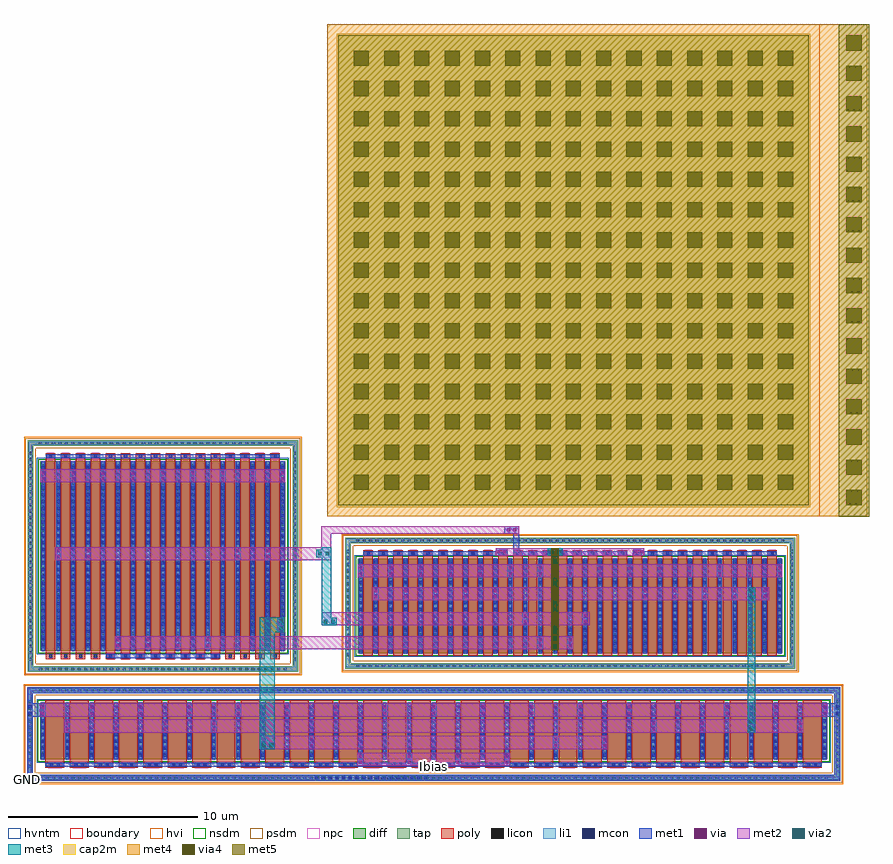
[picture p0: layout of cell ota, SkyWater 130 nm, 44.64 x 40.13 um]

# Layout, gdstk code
from math import pi, radians
import gdstk
lib = gdstk.Library(unit=1e-6, precision=1e-09)
def R(c, l, rs):  # rectangles x0, y0, x1, y1
    for r in rs: c.add(gdstk.rectangle(r[:2], r[2:], *l))
def A(c, l, x, y, w, h, nx, ny, dx, dy):  # array of equal rectangles
    R(c, l, [(x+i*dx, y+j*dy, x+i*dx+w, y+j*dy+h) for i in range(nx) for j in range(ny)])
def P(c, l, *ps):  # polygons
    for p in ps: c.add(gdstk.Polygon(p, *l))
diff = (65, 20)
tap = (65, 44)
poly = (66, 20)
licon = (66, 44)
li1 = (67, 20)
mcon = (67, 44)
met1 = (68, 20)
via = (68, 44)
met2 = (69, 20)
via2 = (69, 44)
met3 = (70, 20)
met4 = (71, 20)
via4 = (71, 44)
met5 = (72, 20)
hvi = (75, 20)
nsdm = (93, 44)
psdm = (94, 20)
npc = (95, 20)
cap2m = (97, 44)
hvntm = (125, 20)
boundary = (235, 4)

via_2 = lib.new_cell('via$2')
R(via_2, via, [(0,0,0.15,0.15)])

via_new = lib.new_cell('via_new')
via_new.add(gdstk.FlexPath([(0,0),(0.7,0)], 0.3, ends="flush", simple_path=True, layer=68, datatype=20))  # met1
via_new.add(gdstk.FlexPath([(0,0),(0.7,0)], 0.3, ends="flush", simple_path=True, layer=69, datatype=20))  # met2
r = gdstk.Reference(via_2, (0.115,-0.075)); r.repetition = gdstk.Repetition(2, 1, v1=(0.32,0), v2=(0,0)); via_new.add(r)

mcon_1 = lib.new_cell('mcon$1')
R(mcon_1, mcon, [(0,0,0.17,0.17)])

via_new_1 = lib.new_cell('via_new$1')
via_new_1.add(gdstk.FlexPath([(0,0),(0.7,0)], 0.3, ends="flush", simple_path=True, layer=68, datatype=20))  # met1
via_new_1.add(gdstk.FlexPath([(0,0),(0.7,0)], 0.3, ends="flush", simple_path=True, layer=67, datatype=20))  # li1
r = gdstk.Reference(mcon_1, (0.085,-0.085)); r.repetition = gdstk.Repetition(2, 1, v1=(0.36,0), v2=(0,0)); via_new_1.add(r)

via2_1 = lib.new_cell('via2$1')
R(via2_1, via2, [(0,0,0.2,0.2)])

via_new_3 = lib.new_cell('via_new$3')
via_new_3.add(gdstk.FlexPath([(0,0),(0.4,0)], 0.8, ends="flush", simple_path=True, layer=69, datatype=20))  # met2
via_new_3.add(gdstk.FlexPath([(0,0),(0.4,0)], 0.8, ends="flush", simple_path=True, layer=70, datatype=20))  # met3
r = gdstk.Reference(via2_1, (0.1,-0.3)); r.repetition = gdstk.Repetition(1, 2, v1=(0,0), v2=(0,0.4)); via_new_3.add(r)

via_1 = lib.new_cell('via$1')
R(via_1, via, [(0,0,0.15,0.15)])

via2_ = lib.new_cell('via2')
R(via2_, via2, [(0,0,0.2,0.2)])

via_new_4 = lib.new_cell('via_new$4')
via_new_4.add(gdstk.FlexPath([(0,0),(0.8,0)], 0.4, ends="flush", simple_path=True, layer=68, datatype=20))  # met1
via_new_4.add(gdstk.FlexPath([(0,0),(0.8,0)], 0.4, ends="flush", simple_path=True, layer=69, datatype=20))  # met2
via_new_4.add(gdstk.FlexPath([(0,0),(0.8,0)], 0.4, ends="flush", simple_path=True, layer=70, datatype=20))  # met3
r = gdstk.Reference(via_1, (0.165,-0.075)); r.repetition = gdstk.Repetition(2, 1, v1=(0.32,0), v2=(0,0)); via_new_4.add(r)
r = gdstk.Reference(via2_, (0.1,-0.1)); r.repetition = gdstk.Repetition(2, 1, v1=(0.4,0), v2=(0,0)); via_new_4.add(r)

mcon_3 = lib.new_cell('mcon$3')
R(mcon_3, mcon, [(0,0,0.17,0.17)])

via_new_7 = lib.new_cell('via_new$7')
via_new_7.add(gdstk.FlexPath([(0,0),(0.3,0)], 6, ends="flush", simple_path=True, layer=68, datatype=20))  # met1
via_new_7.add(gdstk.FlexPath([(0,0),(0.3,0)], 6, ends="flush", simple_path=True, layer=67, datatype=20))  # li1
r = gdstk.Reference(mcon_3, (0.065,-2.965)); r.repetition = gdstk.Repetition(1, 17, v1=(0,0), v2=(0,0.36)); via_new_7.add(r)

via_9 = lib.new_cell('via$9')
R(via_9, via, [(0,0,0.15,0.15)])

via_new_5 = lib.new_cell('via_new$5')
via_new_5.add(gdstk.FlexPath([(0,0),(0.4,0)], 0.6, ends="flush", simple_path=True, layer=68, datatype=20))  # met1
via_new_5.add(gdstk.FlexPath([(0,0),(0.4,0)], 0.6, ends="flush", simple_path=True, layer=69, datatype=20))  # met2
r = gdstk.Reference(via_9, (0.125,-0.235)); r.repetition = gdstk.Repetition(1, 2, v1=(0,0), v2=(0,0.32)); via_new_5.add(r)

via2_5 = lib.new_cell('via2$5')
R(via2_5, via2, [(0,0,0.2,0.2)])

via_new_9 = lib.new_cell('via_new$9')
via_new_9.add(gdstk.FlexPath([(0,0),(0.8,0)], 0.4, ends="flush", simple_path=True, layer=69, datatype=20))  # met2
via_new_9.add(gdstk.FlexPath([(0,0),(0.8,0)], 0.4, ends="flush", simple_path=True, layer=70, datatype=20))  # met3
r = gdstk.Reference(via2_5, (0.1,-0.1)); r.repetition = gdstk.Repetition(2, 1, v1=(0.4,0), v2=(0,0)); via_new_9.add(r)

via_3 = lib.new_cell('via$3')
R(via_3, via, [(0,0,0.15,0.15)])

via_new_6 = lib.new_cell('via_new$6')
via_new_6.add(gdstk.FlexPath([(0,0),(0.4,0)], 0.8, ends="flush", simple_path=True, layer=68, datatype=20))  # met1
via_new_6.add(gdstk.FlexPath([(0,0),(0.4,0)], 0.8, ends="flush", simple_path=True, layer=69, datatype=20))  # met2
r = gdstk.Reference(via_3, (0.125,-0.235)); r.repetition = gdstk.Repetition(1, 2, v1=(0,0), v2=(0,0.32)); via_new_6.add(r)

ota = lib.new_cell('ota')
R(ota, diff, [(40.615,-31.517,82.185,-28.517), (57.405,-25.915,79.815,-20.915), (40.64,-25.78,53.57,-15.78)])
R(ota, tap, [(39.945,-32.627,82.855,-32.337), (39.945,-32.337,40.235,-28.007), (82.565,-32.337,82.855,-28.007), (39.945,-28.007,82.855,-27.717), (39.97,-26.89,54.24,-26.6), (56.735,-26.715,80.485,-26.425), (39.97,-26.6,40.26,-14.96), (53.95,-26.6,54.24,-14.96), (56.735,-26.425,57.025,-20.095), (80.195,-26.425,80.485,-20.095), (56.735,-20.095,80.485,-19.805), (39.97,-14.96,54.24,-14.67)])
A(ota, poly, 40.905, -31.957, 1, 3.57, 32, 1, 1.29, 0)
A(ota, poly, 40.93, -26.22, 0.5, 10.88, 16, 1, 0.79, 0)
A(ota, poly, 57.695, -26.045, 0.5, 5.57, 28, 1, 0.79, 0)
A(ota, licon, 40.575, -32.567, 0.17, 0.17, 123, 2, 0.34, 4.62)
A(ota, licon, 40.005, -31.957, 0.17, 0.17, 1, 11, 0, 0.34)
A(ota, licon, 82.625, -31.957, 0.17, 0.17, 1, 11, 0, 0.34)
A(ota, licon, 40.675, -31.292, 0.17, 0.17, 33, 8, 1.29, 0.34)
A(ota, licon, 40.56, -26.83, 0.17, 0.17, 39, 2, 0.34, 11.93)
A(ota, licon, 57.305, -26.655, 0.17, 0.17, 67, 2, 0.34, 6.62)
A(ota, licon, 40.03, -26.305, 0.17, 0.17, 1, 33, 0, 0.34)
A(ota, licon, 54.01, -26.305, 0.17, 0.17, 1, 33, 0, 0.34)
A(ota, licon, 44.255, -26.14, 0.17, 0.17, 8, 1, 0.79, 0)
A(ota, licon, 56.795, -26.065, 0.17, 0.17, 1, 17, 0, 0.34)
A(ota, licon, 80.255, -26.065, 0.17, 0.17, 1, 17, 0, 0.34)
A(ota, licon, 57.465, -25.71, 0.17, 0.17, 29, 14, 0.79, 0.34)
A(ota, licon, 40.7, -25.625, 0.17, 0.17, 17, 29, 0.79, 0.34)
A(ota, licon, 57.86, -20.725, 0.17, 0.17, 28, 1, 0.79, 0)
A(ota, licon, 41.095, -15.59, 0.17, 0.17, 4, 1, 0.79, 0)
A(ota, licon, 50.575, -15.59, 0.17, 0.17, 4, 1, 0.79, 0)
R(ota, licon, [(41.15,-31.877,41.32,-31.707), (41.49,-31.877,41.66,-31.707), (42.44,-31.877,42.61,-31.707), (42.78,-31.877,42.95,-31.707), (43.73,-31.877,43.9,-31.707), (44.07,-31.877,44.24,-31.707), (45.02,-31.877,45.19,-31.707), (45.36,-31.877,45.53,-31.707), (46.31,-31.877,46.48,-31.707), (46.65,-31.877,46.82,-31.707), (47.6,-31.877,47.77,-31.707), (47.94,-31.877,48.11,-31.707), (48.89,-31.877,49.06,-31.707), (49.23,-31.877,49.4,-31.707), (50.18,-31.877,50.35,-31.707), (50.52,-31.877,50.69,-31.707), (51.47,-31.877,51.64,-31.707), (51.81,-31.877,51.98,-31.707), (52.76,-31.877,52.93,-31.707), (53.1,-31.877,53.27,-31.707), (54.05,-31.877,54.22,-31.707), (54.39,-31.877,54.56,-31.707), (55.34,-31.877,55.51,-31.707), (55.68,-31.877,55.85,-31.707), (56.63,-31.877,56.8,-31.707), (56.97,-31.877,57.14,-31.707), (57.92,-31.877,58.09,-31.707), (58.26,-31.877,58.43,-31.707), (59.21,-31.877,59.38,-31.707), (59.55,-31.877,59.72,-31.707), (60.5,-31.877,60.67,-31.707), (60.84,-31.877,61.01,-31.707), (61.79,-31.877,61.96,-31.707), (62.13,-31.877,62.3,-31.707), (63.08,-31.877,63.25,-31.707), (63.42,-31.877,63.59,-31.707), (64.37,-31.877,64.54,-31.707), (64.71,-31.877,64.88,-31.707), (65.66,-31.877,65.83,-31.707), (66,-31.877,66.17,-31.707), (66.95,-31.877,67.12,-31.707), (67.29,-31.877,67.46,-31.707), (68.24,-31.877,68.41,-31.707), (68.58,-31.877,68.75,-31.707), (69.53,-31.877,69.7,-31.707), (69.87,-31.877,70.04,-31.707), (70.82,-31.877,70.99,-31.707), (71.16,-31.877,71.33,-31.707), (72.11,-31.877,72.28,-31.707), (72.45,-31.877,72.62,-31.707), (73.4,-31.877,73.57,-31.707), (73.74,-31.877,73.91,-31.707), (74.69,-31.877,74.86,-31.707), (75.03,-31.877,75.2,-31.707), (75.98,-31.877,76.15,-31.707), (76.32,-31.877,76.49,-31.707), (77.27,-31.877,77.44,-31.707), (77.61,-31.877,77.78,-31.707), (78.56,-31.877,78.73,-31.707), (78.9,-31.877,79.07,-31.707), (79.85,-31.877,80.02,-31.707), (80.19,-31.877,80.36,-31.707), (81.14,-31.877,81.31,-31.707), (81.48,-31.877,81.65,-31.707)])
A(ota, li1, 40.905, -31.877, 1, 0.17, 32, 1, 1.29, 0)
A(ota, li1, 40.675, -31.537, 0.17, 3.04, 33, 1, 1.29, 0)
A(ota, li1, 44.09, -26.14, 0.5, 0.17, 8, 1, 0.79, 0)
A(ota, li1, 57.465, -25.935, 0.17, 5.04, 29, 1, 0.79, 0)
A(ota, li1, 40.7, -25.8, 0.17, 10.04, 17, 1, 0.79, 0)
A(ota, li1, 57.695, -20.725, 0.5, 0.17, 28, 1, 0.79, 0)
A(ota, li1, 40.93, -15.59, 0.5, 0.17, 4, 1, 0.79, 0)
A(ota, li1, 50.41, -15.59, 0.5, 0.17, 4, 1, 0.79, 0)
R(ota, li1, [(40.005,-32.567,82.795,-32.397), (40.005,-32.397,40.175,-27.947), (82.625,-32.397,82.795,-27.947), (40.005,-27.947,82.795,-27.777), (40.03,-26.83,54.18,-26.66), (40.03,-26.66,40.2,-14.9), (54.01,-26.66,54.18,-14.9), (56.795,-26.655,80.425,-26.485), (56.795,-26.485,56.965,-20.035), (80.255,-26.485,80.425,-20.035), (56.795,-20.035,80.425,-19.865), (40.03,-14.9,54.18,-14.73)])
A(ota, mcon, 40.675, -31.362, 0.17, 0.17, 33, 8, 1.29, 0.36)
A(ota, mcon, 41.095, -26.14, 0.17, 0.17, 16, 2, 0.79, 10.55)
A(ota, mcon, 57.465, -25.84, 0.17, 0.17, 29, 14, 0.79, 0.36)
A(ota, mcon, 44.65, -25.585, 0.17, 0.17, 7, 2, 0.79, 0.36)
A(ota, mcon, 40.7, -25.545, 0.17, 0.17, 17, 2, 0.79, 1.08)
A(ota, mcon, 40.7, -25.185, 0.17, 0.17, 5, 2, 0.79, 0.36)
A(ota, mcon, 50.18, -25.185, 0.17, 0.17, 5, 2, 0.79, 0.36)
A(ota, mcon, 40.7, -24.105, 0.17, 0.17, 17, 23, 0.79, 0.36)
A(ota, mcon, 57.86, -20.725, 0.17, 0.17, 28, 1, 0.79, 0)
R(ota, mcon, [(41.14,-31.877,41.31,-31.707), (41.5,-31.877,41.67,-31.707), (42.43,-31.877,42.6,-31.707), (42.79,-31.877,42.96,-31.707), (43.72,-31.877,43.89,-31.707), (44.08,-31.877,44.25,-31.707), (45.01,-31.877,45.18,-31.707), (45.37,-31.877,45.54,-31.707), (46.3,-31.877,46.47,-31.707), (46.66,-31.877,46.83,-31.707), (47.59,-31.877,47.76,-31.707), (47.95,-31.877,48.12,-31.707), (48.88,-31.877,49.05,-31.707), (49.24,-31.877,49.41,-31.707), (50.17,-31.877,50.34,-31.707), (50.53,-31.877,50.7,-31.707), (51.46,-31.877,51.63,-31.707), (51.82,-31.877,51.99,-31.707), (52.75,-31.877,52.92,-31.707), (53.11,-31.877,53.28,-31.707), (54.04,-31.877,54.21,-31.707), (54.4,-31.877,54.57,-31.707), (55.33,-31.877,55.5,-31.707), (55.69,-31.877,55.86,-31.707), (56.62,-31.877,56.79,-31.707), (56.98,-31.877,57.15,-31.707), (57.91,-31.877,58.08,-31.707), (58.27,-31.877,58.44,-31.707), (59.2,-31.877,59.37,-31.707), (59.56,-31.877,59.73,-31.707), (60.49,-31.877,60.66,-31.707), (60.85,-31.877,61.02,-31.707), (61.78,-31.877,61.95,-31.707), (62.14,-31.877,62.31,-31.707), (63.07,-31.877,63.24,-31.707), (63.43,-31.877,63.6,-31.707), (64.36,-31.877,64.53,-31.707), (64.72,-31.877,64.89,-31.707), (65.65,-31.877,65.82,-31.707), (66.01,-31.877,66.18,-31.707), (66.94,-31.877,67.11,-31.707), (67.3,-31.877,67.47,-31.707), (68.23,-31.877,68.4,-31.707), (68.59,-31.877,68.76,-31.707), (69.52,-31.877,69.69,-31.707), (69.88,-31.877,70.05,-31.707), (70.81,-31.877,70.98,-31.707), (71.17,-31.877,71.34,-31.707), (72.1,-31.877,72.27,-31.707), (72.46,-31.877,72.63,-31.707), (73.39,-31.877,73.56,-31.707), (73.75,-31.877,73.92,-31.707), (74.68,-31.877,74.85,-31.707), (75.04,-31.877,75.21,-31.707), (75.97,-31.877,76.14,-31.707), (76.33,-31.877,76.5,-31.707), (77.26,-31.877,77.43,-31.707), (77.62,-31.877,77.79,-31.707), (78.55,-31.877,78.72,-31.707), (78.91,-31.877,79.08,-31.707), (79.84,-31.877,80.01,-31.707), (80.2,-31.877,80.37,-31.707), (81.13,-31.877,81.3,-31.707), (81.49,-31.877,81.66,-31.707)])
A(ota, met1, 40.925, -31.907, 0.96, 0.23, 32, 1, 1.29, 0)
A(ota, met1, 40.645, -31.517, 0.23, 3, 33, 1, 1.29, 0)
A(ota, met1, 44.11, -26.17, 0.46, 0.23, 8, 1, 0.79, 0)
A(ota, met1, 57.435, -25.915, 0.23, 5, 29, 1, 0.79, 0)
A(ota, met1, 40.67, -25.78, 0.23, 10, 17, 1, 0.79, 0)
A(ota, met1, 57.715, -20.755, 0.46, 0.23, 28, 1, 0.79, 0)
A(ota, met1, 40.95, -15.62, 0.46, 0.23, 4, 1, 0.79, 0)
A(ota, met1, 50.43, -15.62, 0.46, 0.23, 4, 1, 0.79, 0)
R(ota, met1, [(39.94,-32.635,82.865,-32.335), (39.94,-32.635,40.24,-27.715), (82.565,-32.635,82.865,-27.715), (41.868,-31.907,42.24,-31.677), (43.15,-31.907,43.521,-31.677), (44.441,-31.907,44.828,-31.677), (45.734,-31.907,46.097,-31.677), (47.042,-31.907,47.384,-31.677), (48.311,-31.907,48.68,-31.677), (49.597,-31.907,49.974,-31.677), (50.888,-31.907,51.262,-31.677), (52.183,-31.907,52.55,-31.677), (53.48,-31.907,53.841,-31.677), (54.756,-31.907,55.159,-31.677), (56.049,-31.907,56.435,-31.677), (57.352,-31.907,57.719,-31.677), (58.618,-31.907,59.018,-31.677), (59.924,-31.907,60.292,-31.677), (61.219,-31.907,61.582,-31.677), (62.485,-31.907,62.878,-31.677), (63.788,-31.907,64.167,-31.677), (65.087,-31.907,65.46,-31.677), (66.371,-31.907,66.746,-31.677), (67.664,-31.907,68.038,-31.677), (68.952,-31.907,69.32,-31.677), (70.251,-31.907,70.626,-31.677), (71.54,-31.907,71.905,-31.677), (72.816,-31.907,73.192,-31.677), (74.105,-31.907,74.483,-31.677), (75.399,-31.907,75.777,-31.677), (76.693,-31.907,77.086,-31.677), (77.978,-31.907,78.382,-31.677), (79.265,-31.907,79.644,-31.677), (80.566,-31.907,80.939,-31.677), (39.94,-29.25,40.875,-28.55), (81.925,-29.25,82.865,-28.55), (39.94,-28.01,82.865,-27.715), (44.55,-26.17,44.935,-25.94), (45.34,-26.17,45.73,-25.94), (46.13,-26.17,46.505,-25.94), (46.925,-26.17,47.325,-25.94), (47.71,-26.17,48.09,-25.94), (48.505,-26.17,48.865,-25.94), (49.3,-26.17,49.775,-25.94), (57.715,-20.755,65.285,-20.525), (65.615,-20.755,71.605,-20.525), (71.935,-20.755,79.505,-20.525), (65.615,-20.725,65.93,-19.19), (40.95,-15.62,53.26,-15.39)])
R(ota, met2, [(57.38,-31.85,65.42,-31.15), (52.22,-30.965,70.58,-30.265), (41.892,-30.106,80.906,-29.406), (40.609,-29.25,82.187,-28.55), (44.585,-25.7,49.625,-25), (49.325,-25.7,68.76,-25), (55.48,-24.44,69.635,-23.74), (58.19,-23.11,64.81,-22.41), (64.51,-23.11,79.11,-22.41), (57.405,-21.9,79.81,-21.2), (41.425,-21.005,55.99,-20.305), (55.475,-20.835,55.995,-19.19), (64.685,-20.755,72.535,-20.355), (55.475,-19.59,65.93,-19.19), (40.63,-16.89,53.57,-16.19)])
P(ota, met2, [(82.413,-29.14),(82.413,-29.14),(82.413,-29.14),(82.413,-29.14)])
R(ota, met3, [(52.22,-30.965,53.02,-24), (77.975,-30.106,78.375,-22.41), (67.61,-25.74,68.01,-20.355), (52.22,-24.8,53.54,-24), (55.48,-24.44,55.995,-20.305)])
R(ota, met4, [(55.78,-18.685,84.29,7.315)])
A(ota, via4, 83.2, -18.085, 0.8, 0.8, 1, 16, 0, 1.6)
A(ota, via4, 57.18, -17.285, 0.8, 0.8, 15, 15, 1.6, 1.6)
R(ota, via4, [(67.615,-25.74,68.01,-20.355)])
R(ota, met5, [(82.8,-18.69,84.4,7.32), (56.36,-18.105,81.2,6.735)])
R(ota, hvi, [(39.76,-32.812,83.04,-27.532), (39.785,-27.075,54.425,-14.485), (56.55,-26.9,80.67,-19.62)])
R(ota, nsdm, [(40.49,-31.642,82.31,-28.392), (57.28,-26.04,79.94,-20.79), (40.515,-25.905,53.695,-15.655)])
R(ota, psdm, [(39.82,-32.752,82.98,-32.212), (39.82,-32.212,40.36,-28.132), (82.44,-32.212,82.98,-28.132), (39.82,-28.132,82.98,-27.592), (39.845,-27.015,54.365,-26.475), (56.61,-26.84,80.61,-26.3), (39.845,-26.475,40.385,-15.085), (53.825,-26.475,54.365,-15.085), (56.61,-26.3,57.15,-20.22), (80.07,-26.3,80.61,-20.22), (56.61,-20.22,80.61,-19.68), (39.845,-15.085,54.365,-14.545)])
A(ota, npc, 41.05, -31.977, 0.71, 0.37, 32, 1, 1.29, 0)
A(ota, npc, 44.155, -26.24, 0.37, 0.37, 8, 1, 0.79, 0)
A(ota, npc, 57.76, -20.825, 0.37, 0.37, 28, 1, 0.79, 0)
A(ota, npc, 40.995, -15.69, 0.37, 0.37, 4, 1, 0.79, 0)
A(ota, npc, 50.475, -15.69, 0.37, 0.37, 4, 1, 0.79, 0)
R(ota, cap2m, [(56.28,-18.185,81.28,6.815)])
R(ota, hvntm, [(40.43,-31.702,82.37,-28.332), (57.22,-26.1,80,-20.73), (40.455,-25.965,53.755,-15.595)])
R(ota, boundary, [(40.09,-32.482,82.71,-27.862), (40.115,-26.745,54.095,-14.815), (56.88,-26.57,80.34,-19.95), (55.78,-18.685,81.78,7.315)])
r = gdstk.Reference(via_new, (40.759,-29.25), rotation=pi/2); r.repetition = gdstk.Repetition(1, 1, v1=(0,0), v2=(0,0)); ota.add(r)
r = gdstk.Reference(via_new, (82.037,-29.25), rotation=pi/2); r.repetition = gdstk.Repetition(1, 1, v1=(0,0), v2=(0,0)); ota.add(r)
r = gdstk.Reference(via_new, (79.45,-29.25), rotation=pi/2); r.repetition = gdstk.Repetition(1, 1, v1=(0,0), v2=(0,0)); ota.add(r)
r = gdstk.Reference(via_new, (43.338,-29.25), rotation=pi/2); r.repetition = gdstk.Repetition(1, 1, v1=(0,0), v2=(0,0)); ota.add(r)
r = gdstk.Reference(via_new, (45.917,-29.25), rotation=pi/2); r.repetition = gdstk.Repetition(1, 1, v1=(0,0), v2=(0,0)); ota.add(r)
r = gdstk.Reference(via_new, (48.513,-29.25), rotation=pi/2); r.repetition = gdstk.Repetition(1, 1, v1=(0,0), v2=(0,0)); ota.add(r)
r = gdstk.Reference(via_new, (51.087,-29.25), rotation=pi/2); r.repetition = gdstk.Repetition(1, 1, v1=(0,0), v2=(0,0)); ota.add(r)
r = gdstk.Reference(via_new, (53.678,-29.25), rotation=pi/2); r.repetition = gdstk.Repetition(1, 1, v1=(0,0), v2=(0,0)); ota.add(r)
r = gdstk.Reference(via_new, (56.241,-29.25), rotation=pi/2); r.repetition = gdstk.Repetition(1, 1, v1=(0,0), v2=(0,0)); ota.add(r)
r = gdstk.Reference(via_new, (58.825,-29.25), rotation=pi/2); r.repetition = gdstk.Repetition(1, 1, v1=(0,0), v2=(0,0)); ota.add(r)
r = gdstk.Reference(via_new, (61.414,-29.25), rotation=pi/2); r.repetition = gdstk.Repetition(1, 1, v1=(0,0), v2=(0,0)); ota.add(r)
r = gdstk.Reference(via_new, (63.987,-29.249), rotation=pi/2); r.repetition = gdstk.Repetition(1, 1, v1=(0,0), v2=(0,0)); ota.add(r)
r = gdstk.Reference(via_new, (66.59,-29.25), rotation=pi/2); r.repetition = gdstk.Repetition(1, 1, v1=(0,0), v2=(0,0)); ota.add(r)
r = gdstk.Reference(via_new, (69.136,-29.25), rotation=pi/2); r.repetition = gdstk.Repetition(1, 1, v1=(0,0), v2=(0,0)); ota.add(r)
r = gdstk.Reference(via_new, (71.723,-29.251), rotation=pi/2); r.repetition = gdstk.Repetition(1, 1, v1=(0,0), v2=(0,0)); ota.add(r)
r = gdstk.Reference(via_new, (74.3,-29.25), rotation=pi/2); r.repetition = gdstk.Repetition(1, 1, v1=(0,0), v2=(0,0)); ota.add(r)
r = gdstk.Reference(via_new, (76.872,-29.25), rotation=pi/2); r.repetition = gdstk.Repetition(1, 1, v1=(0,0), v2=(0,0)); ota.add(r)
r = gdstk.Reference(via_new, (42.042,-30.106), rotation=pi/2); r.repetition = gdstk.Repetition(1, 1, v1=(0,0), v2=(0,0)); ota.add(r)
r = gdstk.Reference(via_new, (80.756,-30.106), rotation=pi/2); r.repetition = gdstk.Repetition(1, 1, v1=(0,0), v2=(0,0)); ota.add(r)
r = gdstk.Reference(via_new, (78.18,-30.106), rotation=pi/2); r.repetition = gdstk.Repetition(1, 1, v1=(0,0), v2=(0,0)); ota.add(r)
r = gdstk.Reference(via_new, (75.591,-30.106), rotation=pi/2); r.repetition = gdstk.Repetition(1, 1, v1=(0,0), v2=(0,0)); ota.add(r)
r = gdstk.Reference(via_new, (73.023,-30.106), rotation=pi/2); r.repetition = gdstk.Repetition(1, 1, v1=(0,0), v2=(0,0)); ota.add(r)
r = gdstk.Reference(via_new, (44.625,-30.106), rotation=pi/2); r.repetition = gdstk.Repetition(1, 1, v1=(0,0), v2=(0,0)); ota.add(r)
r = gdstk.Reference(via_new, (47.212,-30.106), rotation=pi/2); r.repetition = gdstk.Repetition(1, 1, v1=(0,0), v2=(0,0)); ota.add(r)
r = gdstk.Reference(via_new, (49.789,-30.106), rotation=pi/2); r.repetition = gdstk.Repetition(1, 1, v1=(0,0), v2=(0,0)); ota.add(r)
r = gdstk.Reference(via_new, (52.37,-30.965), rotation=pi/2); r.repetition = gdstk.Repetition(1, 1, v1=(0,0), v2=(0,0)); ota.add(r)
r = gdstk.Reference(via_new, (70.43,-30.965), rotation=pi/2); r.repetition = gdstk.Repetition(1, 1, v1=(0,0), v2=(0,0)); ota.add(r)
r = gdstk.Reference(via_new, (67.85,-30.965), rotation=pi/2); r.repetition = gdstk.Repetition(1, 1, v1=(0,0), v2=(0,0)); ota.add(r)
r = gdstk.Reference(via_new, (54.95,-30.965), rotation=pi/2); r.repetition = gdstk.Repetition(1, 1, v1=(0,0), v2=(0,0)); ota.add(r)
r = gdstk.Reference(via_new, (57.53,-31.85), rotation=pi/2); r.repetition = gdstk.Repetition(1, 1, v1=(0,0), v2=(0,0)); ota.add(r)
r = gdstk.Reference(via_new, (65.27,-31.85), rotation=pi/2); r.repetition = gdstk.Repetition(1, 1, v1=(0,0), v2=(0,0)); ota.add(r)
r = gdstk.Reference(via_new, (60.11,-31.85), rotation=pi/2); r.repetition = gdstk.Repetition(1, 1, v1=(0,0), v2=(0,0)); ota.add(r)
r = gdstk.Reference(via_new, (62.69,-31.85), rotation=pi/2); r.repetition = gdstk.Repetition(1, 1, v1=(0,0), v2=(0,0)); ota.add(r)
r = gdstk.Reference(via_new_1, (82.715,-29.25), rotation=pi/2); r.repetition = gdstk.Repetition(1, 1, v1=(0,0), v2=(0,0)); ota.add(r)
r = gdstk.Reference(via_new_1, (40.09,-29.25), rotation=pi/2); r.repetition = gdstk.Repetition(1, 1, v1=(0,0), v2=(0,0)); ota.add(r)
r = gdstk.Reference(via_new, (40.78,-16.89), rotation=pi/2); r.repetition = gdstk.Repetition(1, 1, v1=(0,0), v2=(0,0)); ota.add(r)
r = gdstk.Reference(via_new, (53.42,-16.89), rotation=pi/2); r.repetition = gdstk.Repetition(1, 1, v1=(0,0), v2=(0,0)); ota.add(r)
r = gdstk.Reference(via_new, (51.845,-16.89), rotation=pi/2); r.repetition = gdstk.Repetition(1, 1, v1=(0,0), v2=(0,0)); ota.add(r)
r = gdstk.Reference(via_new, (50.265,-16.89), rotation=pi/2); r.repetition = gdstk.Repetition(1, 1, v1=(0,0), v2=(0,0)); ota.add(r)
r = gdstk.Reference(via_new, (48.685,-16.89), rotation=pi/2); r.repetition = gdstk.Repetition(1, 1, v1=(0,0), v2=(0,0)); ota.add(r)
r = gdstk.Reference(via_new, (47.1,-16.89), rotation=pi/2); r.repetition = gdstk.Repetition(1, 1, v1=(0,0), v2=(0,0)); ota.add(r)
r = gdstk.Reference(via_new, (45.525,-16.89), rotation=pi/2); r.repetition = gdstk.Repetition(1, 1, v1=(0,0), v2=(0,0)); ota.add(r)
r = gdstk.Reference(via_new, (43.945,-16.89), rotation=pi/2); r.repetition = gdstk.Repetition(1, 1, v1=(0,0), v2=(0,0)); ota.add(r)
r = gdstk.Reference(via_new, (42.365,-16.89), rotation=pi/2); r.repetition = gdstk.Repetition(1, 1, v1=(0,0), v2=(0,0)); ota.add(r)
r = gdstk.Reference(via_new, (41.575,-21.005), rotation=pi/2); r.repetition = gdstk.Repetition(1, 1, v1=(0,0), v2=(0,0)); ota.add(r)
r = gdstk.Reference(via_new, (52.635,-21.005), rotation=pi/2); r.repetition = gdstk.Repetition(1, 1, v1=(0,0), v2=(0,0)); ota.add(r)
r = gdstk.Reference(via_new, (51.055,-21.005), rotation=pi/2); r.repetition = gdstk.Repetition(1, 1, v1=(0,0), v2=(0,0)); ota.add(r)
r = gdstk.Reference(via_new, (43.155,-21.005), rotation=pi/2); r.repetition = gdstk.Repetition(1, 1, v1=(0,0), v2=(0,0)); ota.add(r)
r = gdstk.Reference(via_new, (44.735,-25.7), rotation=pi/2); r.repetition = gdstk.Repetition(1, 1, v1=(0,0), v2=(0,0)); ota.add(r)
r = gdstk.Reference(via_new, (49.475,-25.7), rotation=pi/2); r.repetition = gdstk.Repetition(1, 1, v1=(0,0), v2=(0,0)); ota.add(r)
r = gdstk.Reference(via_new, (47.895,-25.7), rotation=pi/2); r.repetition = gdstk.Repetition(1, 1, v1=(0,0), v2=(0,0)); ota.add(r)
r = gdstk.Reference(via_new, (46.315,-25.7), rotation=pi/2); r.repetition = gdstk.Repetition(1, 1, v1=(0,0), v2=(0,0)); ota.add(r)
r = gdstk.Reference(via_new_3, (52.62,-30.965), rotation=pi/2); r.repetition = gdstk.Repetition(1, 1, v1=(0,0), v2=(0,0)); ota.add(r)
r = gdstk.Reference(via_new_4, (53.34,-24.8), rotation=pi/2); r.repetition = gdstk.Repetition(1, 1, v1=(0,0), v2=(0,0)); ota.add(r)
r = gdstk.Reference(via_new_7, (58.08,-32.63), rotation=pi/2); r.repetition = gdstk.Repetition(1, 1, v1=(0,0), v2=(0,0)); ota.add(r)
r = gdstk.Reference(via_new_5, (72.235,-20.755), rotation=pi/2); r.repetition = gdstk.Repetition(1, 1, v1=(0,0), v2=(0,0)); ota.add(r)
r = gdstk.Reference(via_new_5, (64.985,-20.755), rotation=pi/2); r.repetition = gdstk.Repetition(1, 1, v1=(0,0), v2=(0,0)); ota.add(r)
r = gdstk.Reference(via_new, (57.555,-21.9), rotation=pi/2); r.repetition = gdstk.Repetition(1, 1, v1=(0,0), v2=(0,0)); ota.add(r)
r = gdstk.Reference(via_new, (79.66,-21.9), rotation=pi/2); r.repetition = gdstk.Repetition(1, 1, v1=(0,0), v2=(0,0)); ota.add(r)
r = gdstk.Reference(via_new, (78.09,-21.9), rotation=pi/2); r.repetition = gdstk.Repetition(1, 1, v1=(0,0), v2=(0,0)); ota.add(r)
r = gdstk.Reference(via_new, (76.51,-21.9), rotation=pi/2); r.repetition = gdstk.Repetition(1, 1, v1=(0,0), v2=(0,0)); ota.add(r)
r = gdstk.Reference(via_new, (74.93,-21.9), rotation=pi/2); r.repetition = gdstk.Repetition(1, 1, v1=(0,0), v2=(0,0)); ota.add(r)
r = gdstk.Reference(via_new, (73.35,-21.9), rotation=pi/2); r.repetition = gdstk.Repetition(1, 1, v1=(0,0), v2=(0,0)); ota.add(r)
r = gdstk.Reference(via_new, (71.77,-21.9), rotation=pi/2); r.repetition = gdstk.Repetition(1, 1, v1=(0,0), v2=(0,0)); ota.add(r)
r = gdstk.Reference(via_new, (70.19,-21.9), rotation=pi/2); r.repetition = gdstk.Repetition(1, 1, v1=(0,0), v2=(0,0)); ota.add(r)
r = gdstk.Reference(via_new, (68.61,-21.9), rotation=pi/2); r.repetition = gdstk.Repetition(1, 1, v1=(0,0), v2=(0,0)); ota.add(r)
r = gdstk.Reference(via_new, (67.03,-21.9), rotation=pi/2); r.repetition = gdstk.Repetition(1, 1, v1=(0,0), v2=(0,0)); ota.add(r)
r = gdstk.Reference(via_new, (65.45,-21.9), rotation=pi/2); r.repetition = gdstk.Repetition(1, 1, v1=(0,0), v2=(0,0)); ota.add(r)
r = gdstk.Reference(via_new, (63.87,-21.9), rotation=pi/2); r.repetition = gdstk.Repetition(1, 1, v1=(0,0), v2=(0,0)); ota.add(r)
r = gdstk.Reference(via_new, (62.29,-21.9), rotation=pi/2); r.repetition = gdstk.Repetition(1, 1, v1=(0,0), v2=(0,0)); ota.add(r)
r = gdstk.Reference(via_new, (60.705,-21.9), rotation=pi/2); r.repetition = gdstk.Repetition(1, 1, v1=(0,0), v2=(0,0)); ota.add(r)
r = gdstk.Reference(via_new, (59.13,-21.9), rotation=pi/2); r.repetition = gdstk.Repetition(1, 1, v1=(0,0), v2=(0,0)); ota.add(r)
r = gdstk.Reference(via_new, (58.34,-23.11), rotation=pi/2); r.repetition = gdstk.Repetition(10, 1, v1=(0,0), v2=(0,0)); ota.add(r)
r = gdstk.Reference(via_new, (59.92,-23.11), rotation=pi/2); r.repetition = gdstk.Repetition(10, 1, v1=(0,0), v2=(0,0)); ota.add(r)
r = gdstk.Reference(via_new, (61.5,-23.11), rotation=pi/2); r.repetition = gdstk.Repetition(10, 1, v1=(0,0), v2=(0,0)); ota.add(r)
r = gdstk.Reference(via_new, (63.08,-23.11), rotation=pi/2); r.repetition = gdstk.Repetition(10, 1, v1=(0,0), v2=(0,0)); ota.add(r)
r = gdstk.Reference(via_new, (64.66,-23.11), rotation=pi/2); r.repetition = gdstk.Repetition(10, 1, v1=(0,0), v2=(0,0)); ota.add(r)
r = gdstk.Reference(via_new, (72.56,-23.11), rotation=pi/2); r.repetition = gdstk.Repetition(10, 1, v1=(0,0), v2=(0,0)); ota.add(r)
r = gdstk.Reference(via_new, (74.14,-23.11), rotation=pi/2); r.repetition = gdstk.Repetition(10, 1, v1=(0,0), v2=(0,0)); ota.add(r)
r = gdstk.Reference(via_new, (75.72,-23.11), rotation=pi/2); r.repetition = gdstk.Repetition(10, 1, v1=(0,0), v2=(0,0)); ota.add(r)
r = gdstk.Reference(via_new, (77.3,-23.11), rotation=pi/2); r.repetition = gdstk.Repetition(10, 1, v1=(0,0), v2=(0,0)); ota.add(r)
r = gdstk.Reference(via_new, (78.88,-23.11), rotation=pi/2); r.repetition = gdstk.Repetition(10, 1, v1=(0,0), v2=(0,0)); ota.add(r)
r = gdstk.Reference(via_new, (66.24,-24.44), rotation=pi/2); r.repetition = gdstk.Repetition(10, 1, v1=(0,0), v2=(0,0)); ota.add(r)
r = gdstk.Reference(via_new, (69.4,-24.44), rotation=pi/2); r.repetition = gdstk.Repetition(10, 1, v1=(0,0), v2=(0,0)); ota.add(r)
r = gdstk.Reference(via_new, (67.03,-25.7), rotation=pi/2); r.repetition = gdstk.Repetition(10, 1, v1=(0,0), v2=(0,0)); ota.add(r)
r = gdstk.Reference(via_new, (68.61,-25.7), rotation=pi/2); r.repetition = gdstk.Repetition(10, 1, v1=(0,0), v2=(0,0)); ota.add(r)
r = gdstk.Reference(via_new_9, (67.81,-25.74), rotation=pi/2); r.repetition = gdstk.Repetition(10, 1, v1=(0,0), v2=(0,0)); ota.add(r)
r = gdstk.Reference(via_new_3, (67.83,-20.755), rotation=pi/2); r.repetition = gdstk.Repetition(10, 1, v1=(0,0), v2=(0,0)); ota.add(r)
r = gdstk.Reference(via_new_3, (55.595,-20.835), rotation=pi/2); r.repetition = gdstk.Repetition(10, 1, v1=(0,0), v2=(0,0)); ota.add(r)
r = gdstk.Reference(via_new_3, (55.885,-24.44), rotation=pi/2); r.repetition = gdstk.Repetition(10, 1, v1=(0,0), v2=(0,0)); ota.add(r)
r = gdstk.Reference(via_new_6, (65.53,-19.59), rotation=pi/2); r.repetition = gdstk.Repetition(10, 1, v1=(0,0), v2=(0,0)); ota.add(r)
r = gdstk.Reference(via_new_9, (78.175,-30.105), rotation=pi/2); r.repetition = gdstk.Repetition(10, 1, v1=(0,0), v2=(0,0)); ota.add(r)
r = gdstk.Reference(via_new_9, (78.175,-23.21), rotation=pi/2); r.repetition = gdstk.Repetition(10, 1, v1=(0,0), v2=(0,0)); ota.add(r)
ota.add(gdstk.Label('Ibias', (61.4,-31.875), layer=68, texttype=5))
ota.add(gdstk.Label('GND', (39.975,-32.6), layer=68, texttype=5))

lib.write_gds('ota.gds')
